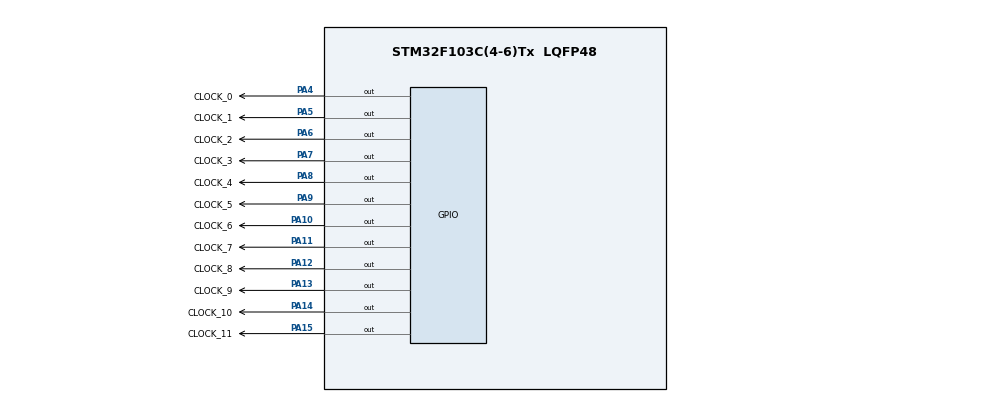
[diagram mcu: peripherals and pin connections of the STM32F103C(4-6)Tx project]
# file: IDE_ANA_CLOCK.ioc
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Mcu.Family=STM32F1
Mcu.Name=STM32F103C(4-6)Tx
Mcu.Package=LQFP48
NVIC.PriorityGroup=NVIC_PRIORITYGROUP_4
PA4.GPIO_Label=CLOCK_0
PA4.GPIO_OutputLevel=GPIO_PIN_RESET
PA4.Signal=GPIO_Output
PA5.GPIO_Label=CLOCK_1
PA5.GPIO_OutputLevel=GPIO_PIN_RESET
PA5.Signal=GPIO_Output
PA6.GPIO_Label=CLOCK_2
PA6.GPIO_OutputLevel=GPIO_PIN_RESET
PA6.Signal=GPIO_Output
PA7.GPIO_Label=CLOCK_3
PA7.GPIO_OutputLevel=GPIO_PIN_RESET
PA7.Signal=GPIO_Output
PA8.GPIO_Label=CLOCK_4
PA8.GPIO_OutputLevel=GPIO_PIN_RESET
PA8.Signal=GPIO_Output
PA9.GPIO_Label=CLOCK_5
PA9.GPIO_OutputLevel=GPIO_PIN_RESET
PA9.Signal=GPIO_Output
PA10.GPIO_Label=CLOCK_6
PA10.GPIO_OutputLevel=GPIO_PIN_RESET
PA10.Signal=GPIO_Output
PA11.GPIO_Label=CLOCK_7
PA11.GPIO_OutputLevel=GPIO_PIN_RESET
PA11.Signal=GPIO_Output
PA12.GPIO_Label=CLOCK_8
PA12.GPIO_OutputLevel=GPIO_PIN_RESET
PA12.Signal=GPIO_Output
PA13.GPIO_Label=CLOCK_9
PA13.GPIO_OutputLevel=GPIO_PIN_RESET
PA13.Signal=GPIO_Output
PA14.GPIO_Label=CLOCK_10
PA14.GPIO_OutputLevel=GPIO_PIN_RESET
PA14.Signal=GPIO_Output
PA15.GPIO_Label=CLOCK_11
PA15.GPIO_OutputLevel=GPIO_PIN_RESET
PA15.Signal=GPIO_Output
ProjectManager.HeapSize=0x200
ProjectManager.StackSize=0x400
ProjectManager.TargetToolchain=STM32CubeIDE
RCC.APB1Freq_Value=8000000
RCC.APB2Freq_Value=8000000
VP_SYS_VS_ND.Mode=No_Debug
board=custom

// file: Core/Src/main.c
/* USER CODE BEGIN Header */
/**
  ******************************************************************************
  * @file           : main.c
  * @brief          : Main program body
  ******************************************************************************
  * @attention
  *
  * Copyright (c) 2026 STMicroelectronics.
  * All rights reserved.
  *
  * This software is licensed under terms that can be found in the LICENSE file
  * in the root directory of this software component.
  * If no LICENSE file comes with this software, it is provided AS-IS.
  *
  ******************************************************************************
  */
/* USER CODE END Header */
#include "main.h"

/* USER CODE BEGIN PD */
#define CLOCK_ALL_PINS (GPIO_PIN_4 | GPIO_PIN_5 | GPIO_PIN_6 | GPIO_PIN_7 | GPIO_PIN_8 | GPIO_PIN_9 | GPIO_PIN_10 | GPIO_PIN_11 | GPIO_PIN_12 | GPIO_PIN_13 | GPIO_PIN_14 | GPIO_PIN_15)

/* USER CODE END PD */

void SystemClock_Config(void);
static void MX_GPIO_Init(void);
/* USER CODE BEGIN PFP */
void clearAllClock(void);
void setNumberOnClock(int num);
void clearNumberOnClock(int num);

/* USER CODE END PFP */

/* USER CODE BEGIN 0 */
/* Number 0 (12 oclock) is PA4; numbers 1-11 follow through PA15. */
/* All LED cathodes now connect to GND: SET = on, RESET = off. */
void clearAllClock(void)
{
  HAL_GPIO_WritePin(GPIOA, CLOCK_ALL_PINS, GPIO_PIN_RESET);
}
void lightAllClock(void)
{
  HAL_GPIO_WritePin(GPIOA, CLOCK_ALL_PINS, GPIO_PIN_SET);
}

void setNumberOnClock(int num)
{
  if (num >= 0 && num < 12)
  {
    uint16_t pin = (uint16_t)(GPIO_PIN_4 << num);
    HAL_GPIO_WritePin(GPIOA, pin, GPIO_PIN_SET);
  }
}

void clearNumberOnClock(int num)
{
  if (num >= 0 && num < 12)
  {
    uint16_t pin = (uint16_t)(GPIO_PIN_4 << num);
    HAL_GPIO_WritePin(GPIOA, pin, GPIO_PIN_RESET);
  }
}

/* USER CODE END 0 */

int main(void)
{

  /* USER CODE BEGIN 1 */
  int hour = 10;
  int minute = 10;
  int second = 0;

  /* USER CODE END 1 */

  /* MCU Configuration--------------------------------------------------------*/

  /* Reset of all peripherals, Initializes the Flash interface and the Systick. */
  HAL_Init();

  /* Configure the system clock */
  SystemClock_Config();

  /* Initialize all configured peripherals */
  MX_GPIO_Init();
  /* USER CODE BEGIN 2 */
  clearAllClock();

  /* USER CODE END 2 */

  /* Infinite loop */
  while (1)
  {

    /* USER CODE BEGIN 3 */
    /* One LED position for each hand: 0 is the 12 o'clock position. */
    clearAllClock();
    setNumberOnClock(hour % 12);
    setNumberOnClock(minute / 5);
    setNumberOnClock(second / 5);

    HAL_Delay(1000);
    second++;
    if (second == 60)
    {
      second = 0;
      minute++;
      if (minute == 60)
      {
        minute = 0;
        hour++;
        if (hour == 13)
        {
          hour = 1;
        }
      }
    }
  }
  /* USER CODE END 3 */
}

void SystemClock_Config(void)
{
  RCC_OscInitTypeDef RCC_OscInitStruct = {0};
  RCC_ClkInitTypeDef RCC_ClkInitStruct = {0};

  /** Initializes the RCC Oscillators according to the specified parameters
  * in the RCC_OscInitTypeDef structure.
  */
  RCC_OscInitStruct.OscillatorType = RCC_OSCILLATORTYPE_HSI;
  RCC_OscInitStruct.HSIState = RCC_HSI_ON;
  RCC_OscInitStruct.HSICalibrationValue = RCC_HSICALIBRATION_DEFAULT;
  RCC_OscInitStruct.PLL.PLLState = RCC_PLL_NONE;
  if (HAL_RCC_OscConfig(&RCC_OscInitStruct) != HAL_OK)
  {
    Error_Handler();
  }

  /** Initializes the CPU, AHB and APB buses clocks
  */
  RCC_ClkInitStruct.ClockType = RCC_CLOCKTYPE_HCLK|RCC_CLOCKTYPE_SYSCLK
                              |RCC_CLOCKTYPE_PCLK1|RCC_CLOCKTYPE_PCLK2;
  RCC_ClkInitStruct.SYSCLKSource = RCC_SYSCLKSOURCE_HSI;
  RCC_ClkInitStruct.AHBCLKDivider = RCC_SYSCLK_DIV1;
  RCC_ClkInitStruct.APB1CLKDivider = RCC_HCLK_DIV1;
  RCC_ClkInitStruct.APB2CLKDivider = RCC_HCLK_DIV1;

  if (HAL_RCC_ClockConfig(&RCC_ClkInitStruct, FLASH_LATENCY_0) != HAL_OK)
  {
    Error_Handler();
  }
}

/**
  * @brief Configure PA4-PA15 as active-high LED outputs.
  */
static void MX_GPIO_Init(void)
{
  GPIO_InitTypeDef GPIO_InitStruct = {0};

  __HAL_RCC_GPIOA_CLK_ENABLE();
  HAL_GPIO_WritePin(GPIOA, CLOCK_ALL_PINS, GPIO_PIN_RESET);

  GPIO_InitStruct.Pin = CLOCK_ALL_PINS;
  GPIO_InitStruct.Mode = GPIO_MODE_OUTPUT_PP;
  GPIO_InitStruct.Pull = GPIO_NOPULL;
  GPIO_InitStruct.Speed = GPIO_SPEED_FREQ_LOW;
  HAL_GPIO_Init(GPIOA, &GPIO_InitStruct);
}

void Error_Handler(void)
{
  __disable_irq();
  while (1)
  {
  }
}
